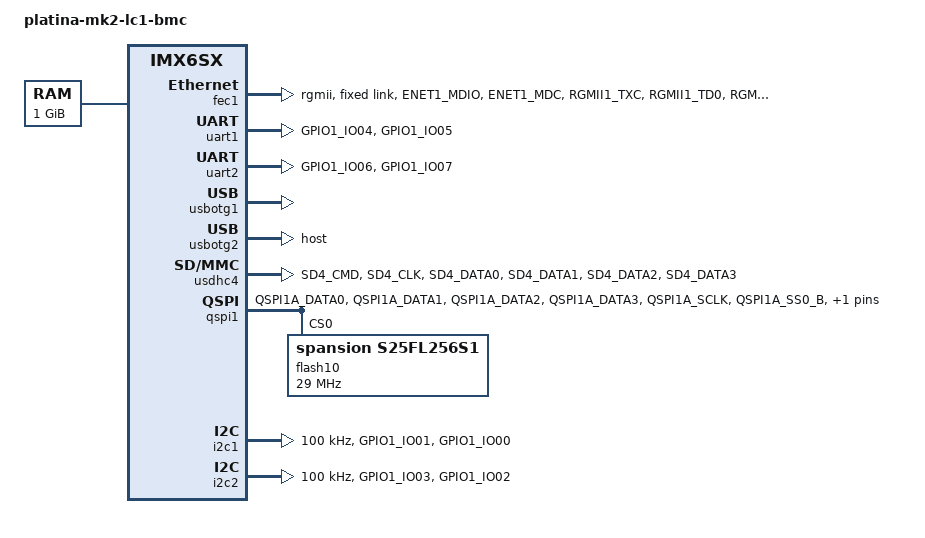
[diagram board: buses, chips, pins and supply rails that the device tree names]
/*
 * Copyright (C) 2015-2016 Platina Systems, Inc.
 *
 * This program is free software; you can redistribute it and/or modify
 * it under the terms of the GNU General Public License version 2 as
 * published by the Free Software Foundation.
 */

/dts-v1/;

#include <dt-bindings/gpio/gpio.h>
#include <dt-bindings/input/input.h>
#include "imx6sx.dtsi"

/ {
	model = "platina-mk2-lc1-bmc";
	compatible = "platina,platina-mk2-lc1-bmc", "fsl,imx6sx-sdb", "fsl,imx6sx";

	chosen {
		stdout-path = &uart1;
	};

	memory {
		reg = <0x80000000 0x40000000>;
	};

};

&fec1 {
	status = "okay";
	pinctrl-names = "default";
	pinctrl-0 = <&pinctrl_enet1>;
	phy-mode = "rgmii";
	fixed-link {
	      speed = <1000>;
	      full-duplex;
	};
};

&uart1 {
	pinctrl-names = "default";
	pinctrl-0 = <&pinctrl_uart1>;
	status = "okay";
};

&uart2 {
	pinctrl-names = "default";
	pinctrl-0 = <&pinctrl_uart2>;
	status = "okay";
};

&usbotg1 {			/* onboard debug */
	pinctrl-names = "default";
	status = "okay";
};


&usbotg2 { 			/* used for front faceplate */
	dr_mode = "host";
	status = "okay";
};


&usdhc4 {
	pinctrl-names = "default";
	pinctrl-0 = <&pinctrl_usdhc4>;
	status = "okay";
};


/* Added new Quad-SPI1 node for TOR1 */
/*   	      	       	    	     */
&qspi1 {
       pinctrl-names = "default";
       pinctrl-0 = <&pinctrl_qspi1>;
       status = "okay";

	ddrsmp = <0>;		/* DDR internal Sampling */

       flash10: s25fl256s1@0 {
		#address-cells = <1>;
		#size-cells = <1>;
		compatible = "spansion,s25fl256s1";
		spi-max-frequency = <29000000>;
		reg = <0>;
	};

/*
	flash11: s25fl512s@1 {
		#address-cells = <1>;
		#size-cells = <1>;
		compatible = "spansion,s25fl512s";
		spi-max-frequency = <29000000>;
		reg = <1>;
	};

     	flash12: s25fl512s@2 {
		#address-cells = <1>;
		#size-cells = <1>;
		compatible = "spansion,s25fl512s";
		spi-max-frequency = <29000000>;
		reg = <2>;
	};

	flash13: s25fl512s@3 {
		#address-cells = <1>;
		#size-cells = <1>;
		compatible = "spansion,s25fl512s";
		spi-max-frequency = <29000000>;
		reg = <3>;
	};

*/

};


&iomuxc {
	pinctrl-names = "default";
	pinctrl-0 = <&pinctrl_hog>;

	platina-mk2-lc1-bmc {
        	pinctrl_hog: hoggrp {
			fsl,pins = <
				MX6SX_PAD_GPIO1_IO08__GPIO1_IO_8	0x17028
				MX6SX_PAD_GPIO1_IO09__GPIO1_IO_9 	0x17028
				MX6SX_PAD_GPIO1_IO10__GPIO1_IO_10	0x00828
				MX6SX_PAD_GPIO1_IO11__GPIO1_IO_11	0x00028
				MX6SX_PAD_GPIO1_IO12__GPIO1_IO_12	0x00028
				MX6SX_PAD_GPIO1_IO13__GPIO1_IO_13	0x07828
				
				MX6SX_PAD_ENET1_COL__GPIO2_IO_0		0x13028
				MX6SX_PAD_ENET1_CRS__GPIO2_IO_1		0x10028
				MX6SX_PAD_ENET1_RX_CLK__GPIO2_IO_4	0x10028
				MX6SX_PAD_ENET1_TX_CLK__GPIO2_IO_5	0x10028
				MX6SX_PAD_ENET2_COL__GPIO2_IO_6		0x10028
				MX6SX_PAD_ENET2_CRS__GPIO2_IO_7 	0x10028
				MX6SX_PAD_ENET2_RX_CLK__GPIO2_IO_8	0x00028

				MX6SX_PAD_KEY_COL0__GPIO2_IO_10		0x00028
				MX6SX_PAD_KEY_COL1__GPIO2_IO_11		0x00028
				MX6SX_PAD_KEY_COL2__GPIO2_IO_12		0x10028
				MX6SX_PAD_KEY_COL3__GPIO2_IO_13		0x10028
				MX6SX_PAD_KEY_ROW0__GPIO2_IO_15		0x10028
				MX6SX_PAD_KEY_ROW1__GPIO2_IO_16		0x10028
				MX6SX_PAD_KEY_ROW2__GPIO2_IO_17		0x10028
				MX6SX_PAD_KEY_ROW3__GPIO2_IO_18		0x10028

				MX6SX_PAD_LCD1_CLK__GPIO3_IO_0		0x10028
				MX6SX_PAD_LCD1_ENABLE__GPIO3_IO_25	0x00828
				MX6SX_PAD_LCD1_HSYNC__GPIO3_IO_26 	0x07028
				MX6SX_PAD_LCD1_VSYNC__GPIO3_IO_28	0x17028

				MX6SX_PAD_NAND_ALE__GPIO4_IO_0  	0x00000 /* unused */
				MX6SX_PAD_NAND_CE0_B__GPIO4_IO_1 	0x00000 /* unused */
				MX6SX_PAD_NAND_CE1_B__GPIO4_IO_2 	0x10028
				MX6SX_PAD_NAND_CLE__GPIO4_IO_3  	0x13028
				MX6SX_PAD_NAND_DATA00__GPIO4_IO_4 	0x10028
				MX6SX_PAD_NAND_DATA01__GPIO4_IO_5	0x10028
				MX6SX_PAD_NAND_DATA02__GPIO4_IO_6	0x10028	
				MX6SX_PAD_NAND_DATA03__GPIO4_IO_7	0x10028
				MX6SX_PAD_NAND_DATA04__GPIO4_IO_8 	0x11028
				MX6SX_PAD_NAND_DATA05__GPIO4_IO_9 	0x03028
				MX6SX_PAD_NAND_DATA06__GPIO4_IO_10	0x10028
				MX6SX_PAD_NAND_DATA07__GPIO4_IO_11 	0x00000  /* unused */
				MX6SX_PAD_NAND_RE_B__GPIO4_IO_12   	0x00028
				MX6SX_PAD_NAND_READY_B__GPIO4_IO_13	0x00028
				MX6SX_PAD_NAND_WE_B__GPIO4_IO_14        0x00028
				MX6SX_PAD_NAND_WP_B__GPIO4_IO_15 	0x13028
				MX6SX_PAD_QSPI1B_DATA0__GPIO4_IO_24     0x0028
                                MX6SX_PAD_QSPI1B_DATA1__GPIO4_IO_25     0x0028
                                MX6SX_PAD_QSPI1B_DATA2__GPIO4_IO_26     0x0028
                                MX6SX_PAD_QSPI1B_DATA3__GPIO4_IO_27     0x0000 /* unused */
                                MX6SX_PAD_QSPI1B_DQS__GPIO4_IO_28       0x0000 /* unused */
				MX6SX_PAD_QSPI1B_SCLK__GPIO4_IO_29      0x0028
                                MX6SX_PAD_QSPI1B_SS0_B__GPIO4_IO_30     0x10028
                                MX6SX_PAD_QSPI1B_SS1_B__GPIO4_IO_31     0x10028

				MX6SX_PAD_SD2_CLK__GPIO6_IO_6		0x03068
				MX6SX_PAD_SD2_CMD__GPIO6_IO_7  		0x11028
				MX6SX_PAD_SD2_DATA0__GPIO6_IO_8  	0x00028
				MX6SX_PAD_SD2_DATA1__GPIO6_IO_9		0x17028
				MX6SX_PAD_SD2_DATA2__GPIO6_IO_10   	0x00028
				MX6SX_PAD_SD2_DATA3__GPIO6_IO_11 	0x00000	/* unused */
				MX6SX_PAD_SD4_DATA6__GPIO6_IO_20 	0x17028
				MX6SX_PAD_SD4_DATA7__GPIO6_IO_21	0x00028
				
				MX6SX_PAD_SD3_DATA0__GPIO7_IO_2		0x00028
				MX6SX_PAD_SD3_DATA1__GPIO7_IO_3		0x00028
                                MX6SX_PAD_SD3_DATA2__GPIO7_IO_4		0x00028
                                MX6SX_PAD_SD3_DATA3__GPIO7_IO_5		0x00028
                                MX6SX_PAD_SD3_DATA4__GPIO7_IO_6		0x00028
                                MX6SX_PAD_SD3_DATA5__GPIO7_IO_7		0x10028
                                MX6SX_PAD_SD3_DATA6__GPIO7_IO_8		0x10028
                                MX6SX_PAD_SD3_DATA7__GPIO7_IO_9		0x10028
			>;
		};

		pinctrl_enet1: enet1grp {
			fsl,pins = <
				MX6SX_PAD_ENET1_MDIO__ENET1_MDIO	0xa0b1
				MX6SX_PAD_ENET1_MDC__ENET1_MDC		0xa0b1
				MX6SX_PAD_RGMII1_TXC__ENET1_RGMII_TXC	0xa0b1
				MX6SX_PAD_RGMII1_TD0__ENET1_TX_DATA_0	0xa0b1
				MX6SX_PAD_RGMII1_TD1__ENET1_TX_DATA_1	0xa0b1
				MX6SX_PAD_RGMII1_TD2__ENET1_TX_DATA_2	0xa0b1
				MX6SX_PAD_RGMII1_TD3__ENET1_TX_DATA_3	0xa0b1
				MX6SX_PAD_RGMII1_TX_CTL__ENET1_TX_EN	0xa0b1
				MX6SX_PAD_RGMII1_RXC__ENET1_RX_CLK	0x3081
				MX6SX_PAD_RGMII1_RD0__ENET1_RX_DATA_0	0x3081
				MX6SX_PAD_RGMII1_RD1__ENET1_RX_DATA_1	0x3081
				MX6SX_PAD_RGMII1_RD2__ENET1_RX_DATA_2	0x3081
				MX6SX_PAD_RGMII1_RD3__ENET1_RX_DATA_3	0x3081
				MX6SX_PAD_RGMII1_RX_CTL__ENET1_RX_EN	0x3081
			>;
		};

		pinctrl_i2c1: i2c1grp {
			fsl,pins = <
				MX6SX_PAD_GPIO1_IO01__I2C1_SDA		0x4001b8b1
				MX6SX_PAD_GPIO1_IO00__I2C1_SCL		0x4001b8b1
			>;
		};

		pinctrl_i2c2: i2c2grp {
			fsl,pins = <
				MX6SX_PAD_GPIO1_IO03__I2C2_SDA		0x4001b8b1
				MX6SX_PAD_GPIO1_IO02__I2C2_SCL		0x4001b8b1
			>;
		};

		pinctrl_i2c3: i2c3grp {
			fsl,pins = <
				MX6SX_PAD_KEY_ROW4__I2C3_SDA		0x4001b8b1
				MX6SX_PAD_KEY_COL4__I2C3_SCL		0x4001b8b1
			>;
		};

		pinctrl_uart1: uart1grp {
			fsl,pins = <
				MX6SX_PAD_GPIO1_IO04__UART1_TX		0x1b0b1
				MX6SX_PAD_GPIO1_IO05__UART1_RX		0x1b0b1
			>;
		};

		pinctrl_uart2: uart2grp {
			fsl,pins = <
				MX6SX_PAD_GPIO1_IO06__UART2_TX		0x1b0b1
				MX6SX_PAD_GPIO1_IO07__UART2_RX		0x1b0b1
			>;
		};


		pinctrl_usdhc4: usdhc4grp {
			fsl,pins = <
				MX6SX_PAD_SD4_CMD__USDHC4_CMD		0x17059
				MX6SX_PAD_SD4_CLK__USDHC4_CLK		0x10059
				MX6SX_PAD_SD4_DATA0__USDHC4_DATA0	0x17059
				MX6SX_PAD_SD4_DATA1__USDHC4_DATA1	0x17059
				MX6SX_PAD_SD4_DATA2__USDHC4_DATA2	0x17059
				MX6SX_PAD_SD4_DATA3__USDHC4_DATA3	0x17059
			>;
		};
		
		/* Defined Pins for Quad-SPI1 node */
		/* 	   	    	      	   */
		pinctrl_qspi1: qspi1grp {
			fsl,pins = <
				 MX6SX_PAD_QSPI1A_DATA0__QSPI1_A_DATA_0	  0x70f1	
				 MX6SX_PAD_QSPI1A_DATA1__QSPI1_A_DATA_1	  0x70f1
				 MX6SX_PAD_QSPI1A_DATA2__QSPI1_A_DATA_2   0x70f1
				 MX6SX_PAD_QSPI1A_DATA3__QSPI1_A_DATA_3	  0x70f1
			  	 MX6SX_PAD_QSPI1A_SCLK__QSPI1_A_SCLK 	  0x70f1
				 MX6SX_PAD_QSPI1A_SS0_B__QSPI1_A_SS0_B	  0x70f1
				 MX6SX_PAD_QSPI1A_SS1_B__QSPI1_A_SS1_B	  0x70f1
			>;
		};
	};
};

/* 05/09/16: Updated LOCAL_MUX SPI interface for TOR1	*/
/* 	      	  	    		      		*/
&i2c1 {
	clock-frequency = <100000>;
	pinctrl-names = "default";
	pinctrl-0 = <&pinctrl_i2c1>;
	status = "okay";
};

&i2c2 {
        clock-frequency = <100000>;
        pinctrl-names = "default";
        pinctrl-0 = <&pinctrl_i2c2>;
        status = "okay";
};

&i2c3 {
        clock-frequency = <100000>;
        pinctrl-names = "default";
        pinctrl-0 = <&pinctrl_i2c3>;
	status = "disabled";		/* not used */
};

&gpio1 {
	HOST_TO_BMC_INT_L@8 {
		gpio-pin-desc;
	  	input;
	};
	BMC_TO_HOST_NMI_L@9 {
		gpio-pin-desc;
		input;
	};
	BMC_TO_HOST_RST_L@10 {
		gpio-pin-desc;
		output-high;
	};
	BMC_TO_HOST_INT_L@11 {
		gpio-pin-desc;
		output-high;
	};
	P3V3_I2C_EN@12 {
		gpio-pin-desc;
		output-high;
	};
	PHY_RST_L@13 {
	     gpio-pin-desc;
	     output-high;
	};
};

&gpio2 {
	BMC_I2C_OK@0 {
		gpio-pin-desc;
		input;
	};
        PCIEX_INT_L@1 {
                gpio-pin-desc;
                input;
        };
        PHY1_INT_L@4 {
                gpio-pin-desc;
                input;
        };
        PHY2_INT_L@5 {
                gpio-pin-desc;
                input;
        };
        ETHX_PCIE_RST_L@6 {
                gpio-pin-desc;
                output-high;
        };
	UCD90120_INT_L@7 {
		gpio-pin-desc;
		input;
	};
	UCD90120_CNTRL@8 {
		gpio-pin-desc;
		output-high;
	};
	HOST_TO_BMC_I2C_EN@10 {
		gpio-pin-desc;
		output-high;
	};	      
	BMC_ON_HOST_I2C_EN@11 {
		gpio-pin-desc;
		output-low;
	};
	I2C3_SDA_BMC_MON@12 {
		gpio-pin-desc;
		input;
	};
	I2C3_SCL_BMC_MON@13 {
		gpio-pin-desc;
		input;
	};
	I2C1_SCL_MON@15 {
		gpio-pin-desc;
		input;
	};
	I2C1_SDA_MON@16 {
		gpio-pin-desc;
		input;
	};
	I2C2_SCL_MON@17 {
		gpio-pin-desc;
		input;
	};
	I2C2_SDA_MON@18 {
		gpio-pin-desc;
		input;
	};
};		   

&gpio3 {
	ETHX_INT_L@0 {
       		gpio-pin-desc;
		input;
  	};
	ETHX_RST_L@25 {
		gpio-pin-desc;
		output-high;
	};
	BMC_TO_MC_INT_L@26 {
		gpio-pin-desc;
		output-high;
	};
	CPU_PRSNT_L@28 {
		gpio-pin-desc;
		input;
	};
};

&gpio4 {
	FP_MUX_SEL1@2 {
		gpio-pin-desc;
		input;
	};
	EEPROM_READY@3 {
		gpio-pin-desc;
		input;
	};
	LM25066_0_ALERT_L@4 {
		gpio-pin-desc;
		input;
	};
	LC_TO_MC_PRESENT_L@5 {
		gpio-pin-desc;
		input;
	};
	LM25066_1_ALERT_L@6 {
		gpio-pin-desc;
	  	input;
	};
	CLK_GENERATOR_EN@7 {
		gpio-pin-desc;
		input;
	};
	HOST_CPU_PWRBTN_L@8 {
		gpio-pin-desc;
		input;
	};
	LC_POWER_EN@9 {
		gpio-pin-desc;
		output-high;
	};
	HOST_GPIO0_INT_L@10 {
		gpio-pin-desc;
	  	input;
	};
	SET_HS_TRIP_0@12 {
		gpio-pin-desc;
		output-low;
	};
        SET_HS_TRIP_1@14 {
                gpio-pin-desc;
                output-low;
        };
	ALL_PWR_GOOD@15 {
		gpio-pin-desc;
		input;
	};
	MAX6369_SET0@24 {
		gpio-pin-desc;
		output-high;
	};
	MAX6369_SET1@25 {
		gpio-pin-desc;
		output-high;
	};
	MAX6369_SET2@26 {
		gpio-pin-desc;
		output-low;
	};
	BMC_WDI@29 {
		gpio-pin-desc;
		output-low;
	};
	BMC_WD_MUX_EN_L@30 {
		gpio-pin-desc;
		input;
	};
	QSPI_MUX_SEL@31 {
		gpio-pin-desc;
		input;
	};
};

&gpio6 {
        FP_G_LED@6 {
                gpio-pin-desc;
                output-high;
        };
	HOST_TO_BMC_I2C_GPIO@7 {
		gpio-pin-desc;
		input;
	};
	MAIN_I2C_MUX_RST_L@8 {
		gpio-pin-desc;
		output-high;
	};
	BMC_HOST_GPIO@9 {
		gpio-pin-desc;
		input;
	};
	BMC_TO_UCD_RST_L@10 {
		gpio-pin-desc;
		output-high;
	};
	PMIC_INT_L@20 {
		gpio-pin-desc;
		input;
	};
	QSPI_RST_L@21 {
		gpio-pin-desc;
		output-high;
	};

};

&gpio7 {
        LC_SLOT_ID0@2 {
                gpio-pin-desc;
                input;
        };
        LC_SLOT_ID1@3 {
                gpio-pin-desc;
                input;
        };
        LC_SLOT_ID2@4 {
                gpio-pin-desc;
                input;
        };
        LC_SLOT_ID3@5 {
                gpio-pin-desc;
                input;
        };
        LC_SLOT_ID4@6 {
                gpio-pin-desc;
                input;
        };
        FAN_SPEED_CTRL0@7 {
                gpio-pin-desc;
                input;
        };
        FAN_SPEED_CTRL1@8 {
                gpio-pin-desc;
                input;
        };
	FAN_SPEED_CTRL2@9 {
                gpio-pin-desc;
                input;
        };
};	
